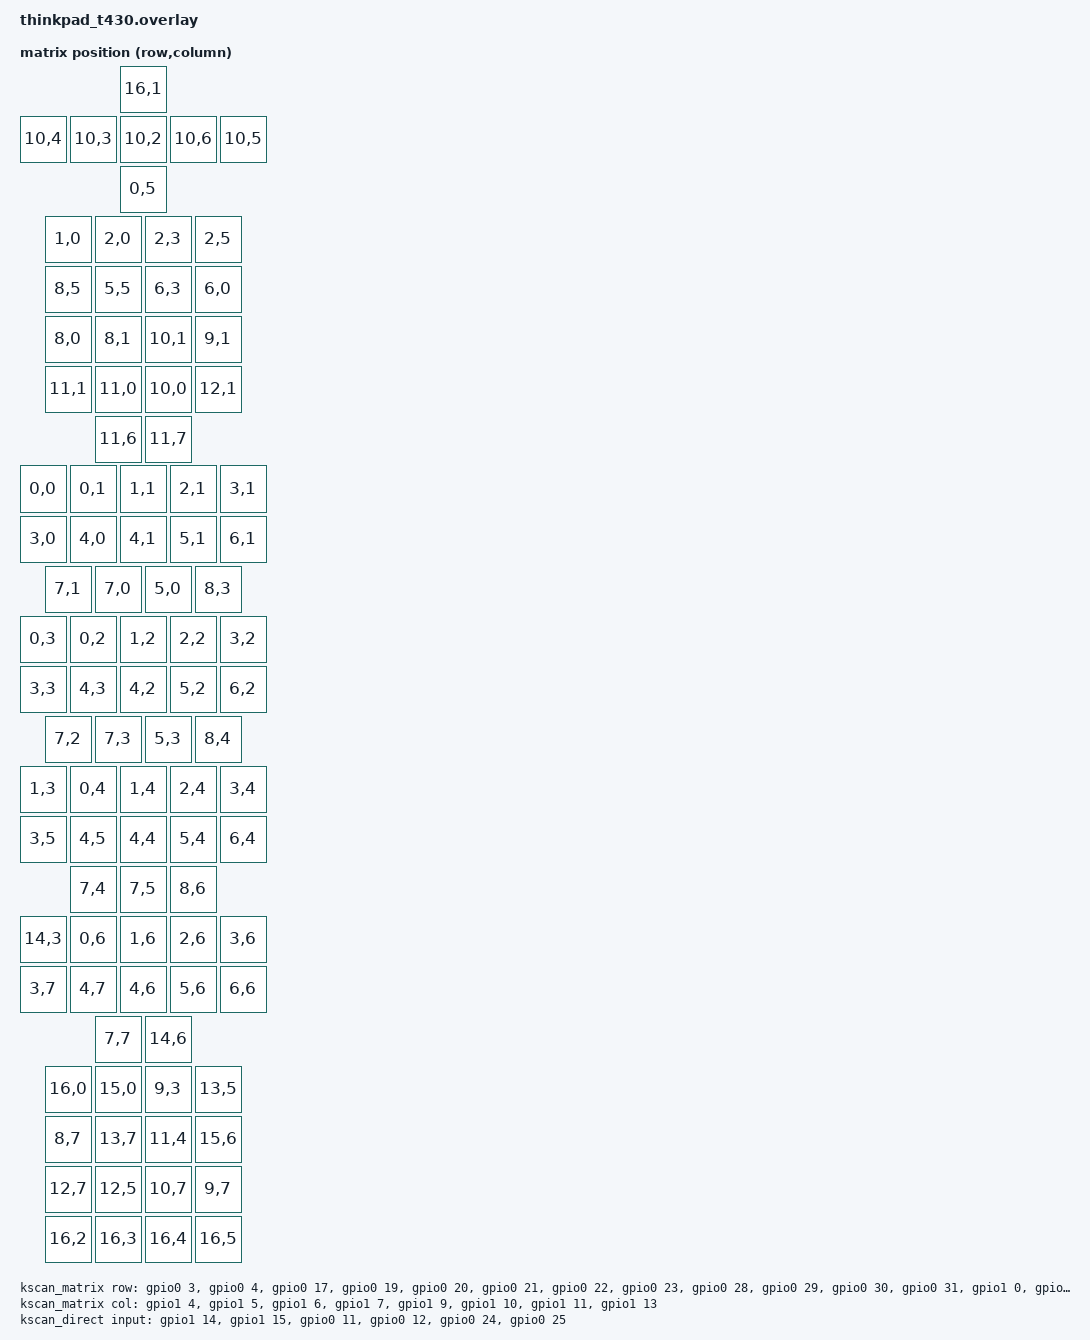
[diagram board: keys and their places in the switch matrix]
/*
 * ThinkPad T430 keyboard and TrackPoint on the Nordic nRF52840 DK.
 *
 * SPDX-License-Identifier: MIT
 */

#include <dt-bindings/gpio/gpio.h>
#include <dt-bindings/pinctrl/nrf-pinctrl.h>
#include <dt-bindings/pwm/pwm.h>
#include <dt-bindings/zmk/matrix_transform.h>

/ {
    chosen {
        zmk,kscan = &kscan_composite;
        zmk,matrix-transform = &default_transform;
        zmk,backlight = &keyboard_backlight;
    };

    /*
     * The T430 matrix has sixteen DRV outputs and eight active-low SENSE
     * inputs. DRVn/SENSEn names and connector pins are documented in the
     * README wiring table.
     */
    kscan_matrix: kscan_matrix {
        compatible = "zmk,kscan-gpio-matrix";
        wakeup-source;
        diode-direction = "row2col";

        /* DRV0 through DRV15, in order. */
        row-gpios =
            <&gpio0 3 GPIO_ACTIVE_LOW>,
            <&gpio0 4 GPIO_ACTIVE_LOW>,
            <&gpio0 17 GPIO_ACTIVE_LOW>,
            <&gpio0 19 GPIO_ACTIVE_LOW>,
            <&gpio0 20 GPIO_ACTIVE_LOW>,
            <&gpio0 21 GPIO_ACTIVE_LOW>,
            <&gpio0 22 GPIO_ACTIVE_LOW>,
            <&gpio0 23 GPIO_ACTIVE_LOW>,
            <&gpio0 28 GPIO_ACTIVE_LOW>,
            <&gpio0 29 GPIO_ACTIVE_LOW>,
            <&gpio0 30 GPIO_ACTIVE_LOW>,
            <&gpio0 31 GPIO_ACTIVE_LOW>,
            <&gpio1 0 GPIO_ACTIVE_LOW>,
            <&gpio1 1 GPIO_ACTIVE_LOW>,
            <&gpio1 2 GPIO_ACTIVE_LOW>,
            <&gpio1 3 GPIO_ACTIVE_LOW>;

        /* SENSE0 through SENSE7, in order. */
        col-gpios =
            <&gpio1 4 (GPIO_ACTIVE_LOW | GPIO_PULL_UP)>,
            <&gpio1 5 (GPIO_ACTIVE_LOW | GPIO_PULL_UP)>,
            <&gpio1 6 (GPIO_ACTIVE_LOW | GPIO_PULL_UP)>,
            <&gpio1 7 (GPIO_ACTIVE_LOW | GPIO_PULL_UP)>,
            <&gpio1 9 (GPIO_ACTIVE_LOW | GPIO_PULL_UP)>,
            <&gpio1 10 (GPIO_ACTIVE_LOW | GPIO_PULL_UP)>,
            <&gpio1 11 (GPIO_ACTIVE_LOW | GPIO_PULL_UP)>,
            <&gpio1 13 (GPIO_ACTIVE_LOW | GPIO_PULL_UP)>;
    };

    /*
     * Fn (-HOTKEY) and the power switch are outside the matrix. The four DK
     * switches remain available as recovery/bring-up controls.
     */
    kscan_direct: kscan_direct {
        compatible = "zmk,kscan-gpio-direct";
        wakeup-source;
        input-gpios =
            <&gpio1 14 (GPIO_ACTIVE_LOW | GPIO_PULL_UP)>,
            <&gpio1 15 (GPIO_ACTIVE_LOW | GPIO_PULL_UP)>,
            <&gpio0 11 (GPIO_ACTIVE_LOW | GPIO_PULL_UP)>,
            <&gpio0 12 (GPIO_ACTIVE_LOW | GPIO_PULL_UP)>,
            <&gpio0 24 (GPIO_ACTIVE_LOW | GPIO_PULL_UP)>,
            <&gpio0 25 (GPIO_ACTIVE_LOW | GPIO_PULL_UP)>;
    };

    kscan_composite: kscan_composite {
        compatible = "zmk,kscan-composite";
        wakeup-source;
        rows = <17>;
        columns = <8>;

        matrix {
            kscan = <&kscan_matrix>;
        };

        direct {
            kscan = <&kscan_direct>;
            row-offset = <16>;
        };
    };

    default_transform: keymap_transform_0 {
        compatible = "zmk,matrix-transform";
        columns = <8>;
        rows = <17>;

        /* Ordered by the physical US keyboard layout, not matrix order. */
        map = <
            /* Power; dedicated audio/ThinkVantage buttons. */
            RC(16,1)
            RC(10,4) RC(10,3) RC(10,2) RC(10,6) RC(10,5)

            /* Function and navigation row. */
            RC(0,5)
            RC(1,0) RC(2,0) RC(2,3) RC(2,5)
            RC(8,5) RC(5,5) RC(6,3) RC(6,0)
            RC(8,0) RC(8,1) RC(10,1) RC(9,1)
            RC(11,1) RC(11,0) RC(10,0) RC(12,1)
            RC(11,6) RC(11,7)

            /* Number row. */
            RC(0,0) RC(0,1) RC(1,1) RC(2,1) RC(3,1)
            RC(3,0) RC(4,0) RC(4,1) RC(5,1) RC(6,1)
            RC(7,1) RC(7,0) RC(5,0) RC(8,3)

            /* QWERTY row. */
            RC(0,3) RC(0,2) RC(1,2) RC(2,2) RC(3,2)
            RC(3,3) RC(4,3) RC(4,2) RC(5,2) RC(6,2)
            RC(7,2) RC(7,3) RC(5,3) RC(8,4)

            /* Home row. */
            RC(1,3) RC(0,4) RC(1,4) RC(2,4) RC(3,4)
            RC(3,5) RC(4,5) RC(4,4) RC(5,4) RC(6,4)
            RC(7,4) RC(7,5) RC(8,6)

            /* Shift row. */
            RC(14,3) RC(0,6) RC(1,6) RC(2,6) RC(3,6)
            RC(3,7) RC(4,7) RC(4,6) RC(5,6) RC(6,6)
            RC(7,7) RC(14,6)

            /* Bottom row and cursor cluster. */
            RC(16,0) RC(15,0) RC(9,3) RC(13,5)
            RC(8,7) RC(13,7) RC(11,4) RC(15,6)
            RC(12,7) RC(12,5) RC(10,7) RC(9,7)

            /* DK SW1 through SW4 recovery controls. */
            RC(16,2) RC(16,3) RC(16,4) RC(16,5)
        >;
    };

    keyboard_backlight: keyboard_backlight {
        compatible = "pwm-leds";

        pwm_led_0 {
            /* The original EC drives KBD_BL_PWM as active-high 3.3 V logic. */
            pwms = <&pwm1 0 PWM_USEC(1000) PWM_POLARITY_NORMAL>;
        };
    };

    t430_indicators: t430_indicators {
        compatible = "gpio-leds";

        t430_power_led: power_led {
            /* Also mirrors onto DK LED1 during bring-up. */
            gpios = <&gpio0 13 GPIO_ACTIVE_LOW>;
        };

        t430_mute_led: mute_led {
            /* Also mirrors onto DK LED2 during bring-up. */
            gpios = <&gpio0 14 GPIO_ACTIVE_LOW>;
        };

        t430_micmute_led: micmute_led {
            /* Also mirrors onto DK LED3 during bring-up. */
            gpios = <&gpio0 15 GPIO_ACTIVE_LOW>;
        };

        t430_profile_1_led: profile_1_led {
            /* Mirrors onto DK LED4 during bring-up. */
            gpios = <&gpio0 16 GPIO_ACTIVE_LOW>;
        };

        t430_profile_2_led: profile_2_led {
            /* External active-low LED for DK bring-up. */
            gpios = <&gpio0 2 GPIO_ACTIVE_LOW>;
        };

        t430_profile_3_led: profile_3_led {
            /* External active-low LED; UART0 RTS is deliberately released below. */
            gpios = <&gpio0 5 GPIO_ACTIVE_LOW>;
        };
    };

    trackpoint: trackpoint {
        compatible = "zmk,input-mouse-ps2";
        status = "okay";
        ps2-device = <&trackpoint_ps2>;
        rst-gpios = <&gpio1 8 GPIO_ACTIVE_HIGH>;

        sampling-rate = <100>;
        tp-sensitivity = <128>;
        tp-neg-inertia = <6>;
        tp-y-invert;
    };

    trackpoint_listener: trackpoint_listener {
        compatible = "zmk,input-listener";
        status = "okay";
        device = <&trackpoint>;
    };
};

/*
 * UARTE1 receives PS/2 DATA at the closest supported rate to the TrackPoint
 * clock. Transmit commands are sent by the module using GPIO timing.
 */
&pinctrl {
    uart0_console_default: uart0_console_default {
        group1 {
            psels = <NRF_PSEL(UART_TX, 0, 6)>;
        };

        group2 {
            psels = <NRF_PSEL(UART_RX, 0, 8)>;
            bias-pull-up;
        };
    };

    uart0_console_sleep: uart0_console_sleep {
        group1 {
            psels = <NRF_PSEL(UART_TX, 0, 6)>,
                    <NRF_PSEL(UART_RX, 0, 8)>;
            low-power-enable;
        };
    };

    pwm1_keyboard_default: pwm1_keyboard_default {
        group1 {
            psels = <NRF_PSEL(PWM_OUT0, 1, 12)>;
        };
    };

    pwm1_keyboard_sleep: pwm1_keyboard_sleep {
        group1 {
            psels = <NRF_PSEL(PWM_OUT0, 1, 12)>;
            low-power-enable;
        };
    };

    uart1_trackpoint_default: uart1_trackpoint_default {
        group1 {
            psels = <NRF_PSEL_DISCONNECTED(UART_TX)>,
                    <NRF_PSEL(UART_RX, 0, 26)>;
            bias-pull-up;
        };
    };

    uart1_trackpoint_sleep: uart1_trackpoint_sleep {
        group1 {
            psels = <NRF_PSEL_DISCONNECTED(UART_TX)>,
                    <NRF_PSEL_DISCONNECTED(UART_RX)>;
        };
    };
};

/* P0.26 and P0.27 are the DK's default Arduino I2C pins. */
&arduino_i2c {
    status = "disabled";
};

/* P1.08 is SPI1 MISO in the board defaults and is used here for TP reset. */
&spi1 {
    status = "disabled";
};

/* Matrix DRV2/DRV4-DRV8 reuse the pins connected to the DK QSPI flash. */
&qspi {
    status = "disabled";
};

/* Fn and power use P1.14/P1.15, normally Arduino SPI MISO/SCK. */
&arduino_spi {
    status = "disabled";
};

&pwm1 {
    status = "okay";
    pinctrl-0 = <&pwm1_keyboard_default>;
    pinctrl-1 = <&pwm1_keyboard_sleep>;
    pinctrl-names = "default", "sleep";
};

/* Keep UART logging on TX/RX while releasing RTS P0.05 for profile LED 3. */
&uart0 {
    pinctrl-0 = <&uart0_console_default>;
    pinctrl-1 = <&uart0_console_sleep>;
    pinctrl-names = "default", "sleep";
};

/* The shield owns DK LED1-LED4 pins as T430 indicator outputs. */
&led0 { status = "disabled"; };
&led1 { status = "disabled"; };
&led2 { status = "disabled"; };
&led3 { status = "disabled"; };

&uart1 {
    compatible = "nordic,nrf-uarte";
    status = "okay";
    current-speed = <14400>;
    pinctrl-0 = <&uart1_trackpoint_default>;
    pinctrl-1 = <&uart1_trackpoint_sleep>;
    pinctrl-names = "default", "sleep";

    trackpoint_ps2: ps2 {
        compatible = "uart-ps2";
        status = "okay";
        /* nRF-side pull-ups are internal; only the translator's 5 V side
         * needs external pull-ups for the open-collector PS/2 bus. */
        scl-gpios = <&gpio0 27 (GPIO_ACTIVE_HIGH | GPIO_PULL_UP)>;
        sda-gpios = <&gpio0 26 (GPIO_ACTIVE_HIGH | GPIO_PULL_UP)>;
    };
};

/* PS/2 clock edges must pre-empt the Bluetooth controller. */
&gpiote {
    interrupts = <6 0>;
};

/*
 * Generated with the TrackPoint module's gen_interrupt_priority_overrides.py
 * from this shield's compiled nRF52840 DK devicetree. Bluetooth controller
 * priorities are shifted to 1/2 by the module's Kconfig; all other SoC IRQs
 * are kept below GPIOTE at priority 3.
 */
&clock { interrupts = <0 3>; };
&power { interrupts = <0 3>; };
&radio { interrupts = <1 3>; };
&uart0 { interrupts = <2 3>; };
&i2c0 { interrupts = <3 3>; };
&spi0 { interrupts = <3 3>; };
&i2c1 { interrupts = <4 3>; };
&spi1 { interrupts = <4 3>; };
&nfct { interrupts = <5 3>; };
&adc { interrupts = <7 3>; };
&timer0 { interrupts = <8 3>; };
&timer1 { interrupts = <9 3>; };
&timer2 { interrupts = <10 3>; };
&rtc0 { interrupts = <11 3>; };
&temp { interrupts = <12 3>; };
&rng { interrupts = <13 3>; };
&ecb { interrupts = <14 3>; };
&ccm { interrupts = <15 3>; };
&wdt { interrupts = <16 3>; };
&rtc1 { interrupts = <17 3>; };
&qdec { interrupts = <18 3>; };
&comp { interrupts = <19 3>; };
&egu0 { interrupts = <20 3>; };
&egu1 { interrupts = <21 3>; };
&egu2 { interrupts = <22 3>; };
&egu3 { interrupts = <23 3>; };
&egu4 { interrupts = <24 3>; };
&egu5 { interrupts = <25 3>; };
&timer3 { interrupts = <26 3>; };
&timer4 { interrupts = <27 3>; };
&pwm0 { interrupts = <28 3>; };
&pdm0 { interrupts = <29 3>; };
&pwm1 { interrupts = <33 3>; };
&pwm2 { interrupts = <34 3>; };
&spi2 { interrupts = <35 3>; };
&rtc2 { interrupts = <36 3>; };
&i2s0 { interrupts = <37 3>; };
&usbd { interrupts = <39 3>; };
&uart1 { interrupts = <40 3>; };
&qspi { interrupts = <41 3>; };
&pwm3 { interrupts = <45 3>; };
&spi3 { interrupts = <47 3>; };
&cryptocell { interrupts = <42 3>; };
